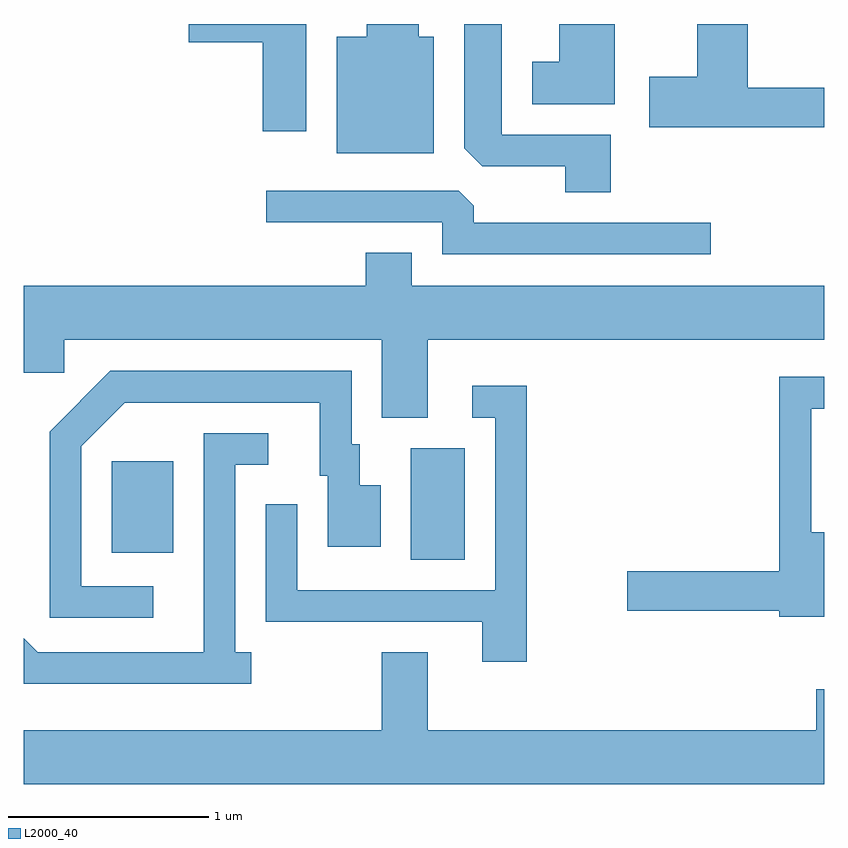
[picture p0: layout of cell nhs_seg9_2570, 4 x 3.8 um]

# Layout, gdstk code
import gdstk
lib = gdstk.Library(unit=1e-6, precision=1e-09)
def R(c, l, rs):  # rectangles x0, y0, x1, y1
    for r in rs: c.add(gdstk.rectangle(r[:2], r[2:], *l))
def P(c, l, *ps):  # polygons
    for p in ps: c.add(gdstk.Polygon(p, *l))
L2000_40 = (2000, 40)

nhs_seg9_2570 = lib.new_cell('nhs_seg9_2570')
R(nhs_seg9_2570, L2000_40, [(261.546,2061.756,261.814,2062.314), (260.051,2061.791,260.359,2062.249)])
P(nhs_seg9_2570, L2000_40, [(261.024,2064.432),(260.436,2064.432),(260.436,2064.341),(260.806,2064.341),(260.806,2063.896),(261.024,2063.896)],
  [(261.659,2064.369),(261.584,2064.369),(261.584,2064.432),(261.326,2064.432),(261.326,2064.369),(261.176,2064.369),(261.176,2063.786),(261.659,2063.786)],
  [(262.564,2064.432),(262.286,2064.432),(262.286,2064.244),(262.151,2064.244),(262.151,2064.031),(262.564,2064.031)],
  [(263.611,2064.114),(263.229,2064.114),(263.229,2064.432),(262.976,2064.432),(262.976,2064.169),(262.736,2064.169),(262.736,2063.916),(263.611,2063.916)],
  [(262.544,2063.879),(261.999,2063.879),(261.999,2064.432),(261.811,2064.432),(261.811,2063.812),(261.902,2063.721),(262.316,2063.721),(262.316,2063.591),(262.544,2063.591)],
  [(263.043,2063.439),(261.859,2063.439),(261.859,2063.524),(261.784,2063.599),(260.823,2063.599),(260.823,2063.441),(261.701,2063.441),(261.701,2063.281),(263.043,2063.281)],
  [(261.629,2062.856),(263.611,2062.856),(263.611,2063.124),(261.549,2063.124),(261.549,2063.289),(261.321,2063.289),(261.321,2063.124),(259.611,2063.124),(259.611,2062.691),(259.814,2062.691),(259.814,2062.856),(261.401,2062.856),(261.401,2062.466),(261.629,2062.466)],
  [(260.258,2061.624),(259.899,2061.624),(259.899,2062.324),(260.117,2062.541),(261.091,2062.541),(261.091,2062.176),(261.131,2062.176),(261.131,2061.821),(261.394,2061.821),(261.394,2062.129),(261.289,2062.129),(261.289,2062.334),(261.249,2062.334),(261.249,2062.699),(260.044,2062.699),(259.741,2062.396),(259.741,2061.466),(260.258,2061.466)],
  [(263.611,2061.894),(263.544,2061.894),(263.544,2062.511),(263.611,2062.511),(263.611,2062.669),(263.386,2062.669),(263.386,2061.699),(262.626,2061.699),(262.626,2061.501),(263.386,2061.501),(263.386,2061.471),(263.611,2061.471)],
  [(262.124,2062.624),(261.853,2062.624),(261.853,2062.466),(261.966,2062.466),(261.966,2061.604),(260.979,2061.604),(260.979,2062.033),(260.821,2062.033),(260.821,2061.446),(261.901,2061.446),(261.901,2061.246),(262.124,2061.246)],
  [(260.748,2061.294),(260.669,2061.294),(260.669,2062.231),(260.832,2062.231),(260.832,2062.389),(260.511,2062.389),(260.511,2061.294),(259.682,2061.294),(259.611,2061.365),(259.611,2061.136),(260.748,2061.136)],
  [(263.611,2061.109),(263.571,2061.109),(263.571,2060.904),(261.629,2060.904),(261.629,2061.294),(261.401,2061.294),(261.401,2060.904),(259.611,2060.904),(259.611,2060.636),(263.611,2060.636)])

lib.write_gds('nhs_seg9_2570.gds')
